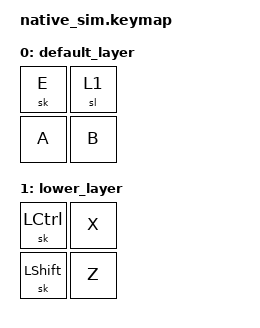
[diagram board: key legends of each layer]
#include <dt-bindings/zmk/keys.h>
#include <behaviors.dtsi>
#include <dt-bindings/zmk/kscan_mock.h>

/ {
    keymap {
        compatible = "zmk,keymap";

        default_layer {
            bindings = <&sk E &sl 1
                        &kp A &kp B>;
        };

        lower_layer {
            bindings = <&sk LEFT_CONTROL &kp X
                        &sk LEFT_SHIFT &kp Z>;
        };
    };
};

&kscan {
    events = <
              /* press sl lower_layer */
              ZMK_MOCK_PRESS(0,1,10)
              /* tap sk LEFT_CONTROL */
              ZMK_MOCK_PRESS(0,0,10)
              ZMK_MOCK_RELEASE(0,0,10)
              /* tap sk LEFT_SHIFT */
              ZMK_MOCK_PRESS(1,0,10)
              ZMK_MOCK_RELEASE(1,0,10)
              /* release sl lower_layer */
              ZMK_MOCK_RELEASE(0,1,10)
              /* tap A (with left control and left shift enabled) */
              ZMK_MOCK_PRESS(1,0,10)
              ZMK_MOCK_RELEASE(1,0,10)
              /* tap A (no sticky keys anymore) */
              ZMK_MOCK_PRESS(1,0,10)
              ZMK_MOCK_RELEASE(1,0,10)>;
};
